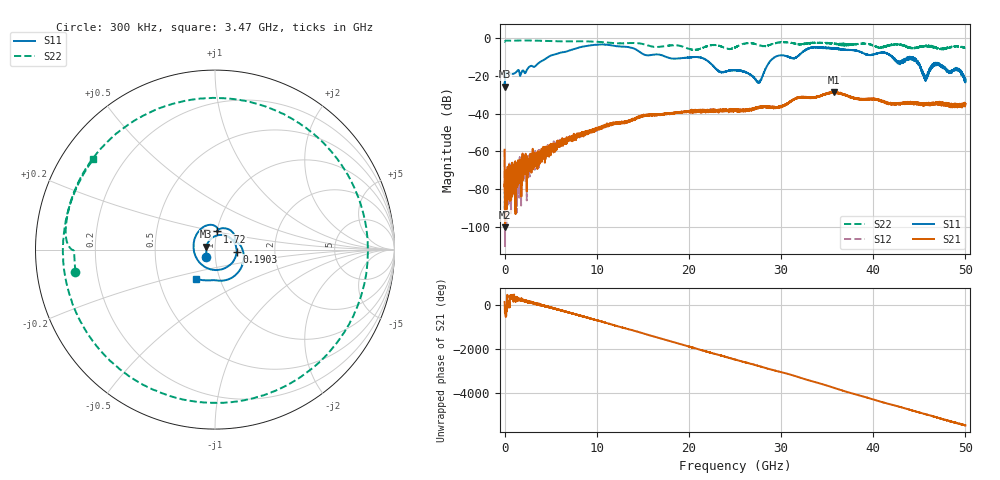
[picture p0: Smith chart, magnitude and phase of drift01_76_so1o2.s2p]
!Created with skrf (http://scikit-rf.org).
# Hz S RI R 50.0
!freq ReS11 ImS11 ReS21 ImS21 ReS12 ImS12 ReS22 ImS22
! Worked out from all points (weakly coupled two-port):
!   10001 points, 300 kHz to 50 GHz, reference 50 ohm
!   highest |S21| = -28.72 dB at 35.74 GHz (marker M1); lowest = -100.1 dB at 45.3 MHz (marker M2)
!   lowest |S11| = -25.8 dB at 5.3 MHz (marker M3), VSWR 1.11, Z = 45.3 + j1.44 ohm
!   |S11| at or under -10 dB: start of sweep to 4.766 GHz; 17.52 GHz to 29.37 GHz (11.85 GHz wide, 50.6 % of centre); 43.97 GHz to end of sweep (the widest 3 of 10)
!   |S22| runs from -6.4 to -1.4 dB; largest |S21 - S12| = 0.0038
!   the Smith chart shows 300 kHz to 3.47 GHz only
!   S11 on the Smith chart (normalised r, x): 300 kHz: 0.91, -0.07; 190.3 MHz: 1.27, -0.03; 1.72 GHz: 1.00, +0.20; 3.47 GHz: 0.77, -0.26
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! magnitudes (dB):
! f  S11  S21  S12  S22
! 300 kHz  -24.1  -59.2  -59.2  -2.1
! 5.3 MHz  -25.8  -70.4  -95.1  -2.1
! 45.3 MHz  -21.2  -100.1  -79.2  -1.7
! 190.3 MHz  -18.3  -73.4  -72.7  -1.4
! 1.72 GHz  -19.9  -66.2  -70.3  -1.4
! 3.47 GHz  -14.3  -64.5  -68.8  -1.5
! 8.335 GHz  -4.8  -51.5  -51.3  -1.8
! 16.67 GHz  -8.8  -40.5  -40.4  -4.8
! 21.2 GHz  -10.3  -39.2  -38.7  -5.8
! 23.39 GHz  -18.0  -38.0  -38.4  -4.3
! 25 GHz  -17.0  -38.4  -38.3  -5.0
! 27.59 GHz  -23.3  -36.6  -36.4  -3.7
! 29.29 GHz  -10.3  -36.6  -36.7  -2.9
! 31.47 GHz  -10.7  -32.2  -32.3  -2.9
! 33.34 GHz  -5.1  -31.6  -31.6  -2.7
! 35.74 GHz  -5.6  -28.7  -28.9  -3.2
! 41.67 GHz  -8.6  -34.5  -34.7  -3.9
! 42.78 GHz  -13.2  -35.0  -34.7  -3.5
! 44.48 GHz  -10.9  -34.3  -34.6  -5.4
! 45.63 GHz  -20.6  -35.2  -34.8  -4.3
! 46.93 GHz  -13.4  -34.9  -34.5  -5.5
! 50 GHz  -21.7  -34.8  -35.2  -5.3
